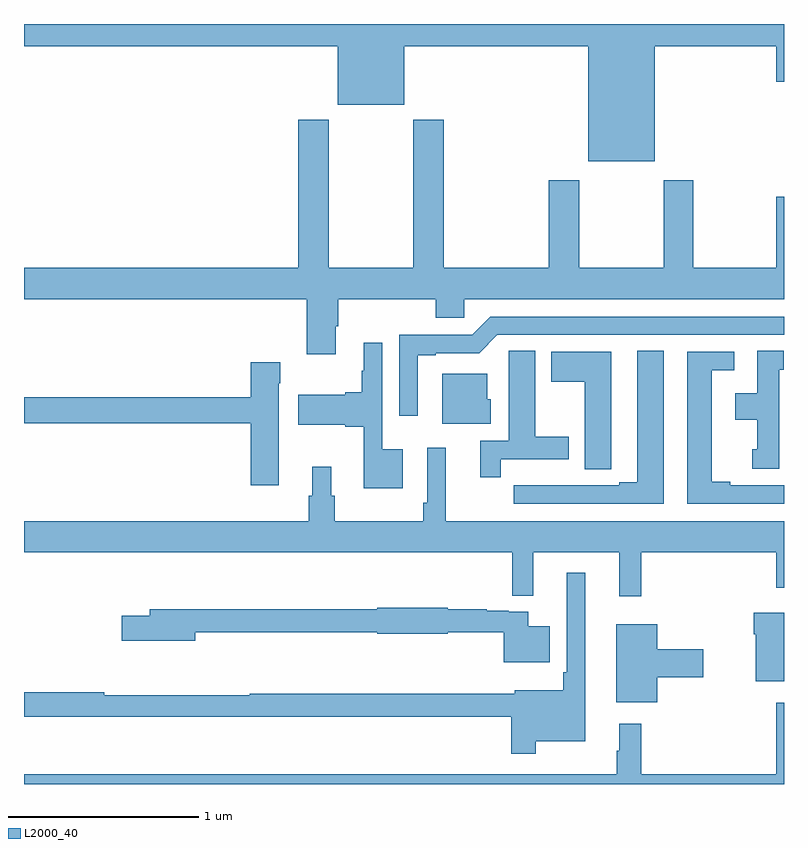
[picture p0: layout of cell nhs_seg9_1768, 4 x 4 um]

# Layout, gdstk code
import gdstk
lib = gdstk.Library(unit=1e-6, precision=1e-09)
def P(c, l, *ps):  # polygons
    for p in ps: c.add(gdstk.Polygon(p, *l))
L2000_40 = (2000, 40)

nhs_seg9_1768 = lib.new_cell('nhs_seg9_1768')
P(nhs_seg9_1768, L2000_40, [(209,1232.384),(210.65,1232.384),(210.65,1232.075),(211,1232.075),(211,1232.384),(211.97,1232.384),(211.97,1231.778),(212.32,1231.778),(212.32,1232.384),(212.96,1232.384),(212.96,1232.196),(213,1232.196),(213,1232.5),(209,1232.5)],
  [(210.64,1230.91),(210.653,1230.91),(210.653,1231.052),(211.166,1231.052),(211.166,1230.954),(211.317,1230.954),(211.317,1231.052),(213,1231.052),(213,1231.591),(212.96,1231.591),(212.96,1231.216),(212.523,1231.216),(212.523,1231.678),(212.368,1231.678),(212.368,1231.216),(211.923,1231.216),(211.923,1231.678),(211.763,1231.678),(211.763,1231.216),(211.208,1231.216),(211.208,1231.996),(211.048,1231.996),(211.048,1231.216),(210.603,1231.216),(210.603,1231.996),(210.443,1231.996),(210.443,1231.216),(209,1231.216),(209,1231.052),(210.488,1231.052),(210.488,1230.762),(210.64,1230.762)],
  [(211.072,1230.756),(211.168,1230.756),(211.168,1230.768),(211.395,1230.768),(211.491,1230.864),(213,1230.864),(213,1230.96),(211.455,1230.96),(211.359,1230.864),(210.975,1230.864),(210.975,1230.438),(211.072,1230.438)],
  [(210.994,1230.262),(210.885,1230.262),(210.885,1230.823),(210.788,1230.823),(210.788,1230.674),(210.777,1230.674),(210.777,1230.563),(210.692,1230.563),(210.692,1230.55),(210.444,1230.55),(210.444,1230.392),(210.692,1230.392),(210.692,1230.38),(210.788,1230.38),(210.788,1230.056),(210.994,1230.056)],
  [(212.974,1230.681),(212.998,1230.681),(212.998,1230.779),(212.858,1230.779),(212.858,1230.556),(212.744,1230.556),(212.744,1230.416),(212.858,1230.416),(212.858,1230.261),(212.834,1230.261),(212.834,1230.159),(212.974,1230.159)],
  [(212.368,1230.779),(212.228,1230.779),(212.228,1230.087),(212.132,1230.087),(212.132,1230.072),(211.856,1230.072),(211.856,1230.073),(211.69,1230.073),(211.69,1230.072),(211.578,1230.072),(211.578,1229.976),(212.368,1229.976)],
  [(211.508,1230.21),(211.867,1230.21),(211.867,1230.327),(211.69,1230.327),(211.69,1230.779),(211.551,1230.779),(211.551,1230.668),(211.55,1230.668),(211.55,1230.306),(211.4,1230.306),(211.4,1230.114),(211.508,1230.114)],
  [(212.091,1230.265),(212.092,1230.265),(212.092,1230.775),(211.775,1230.775),(211.775,1230.616),(211.952,1230.616),(211.952,1230.157),(212.091,1230.157)],
  [(213,1230.072),(212.716,1230.072),(212.716,1230.092),(212.62,1230.092),(212.62,1230.678),(212.737,1230.678),(212.737,1230.774),(212.492,1230.774),(212.492,1229.976),(213,1229.976)],
  [(210.34,1230.608),(210.348,1230.608),(210.348,1230.721),(210.194,1230.721),(210.194,1230.536),(209,1230.536),(209,1230.4),(210.194,1230.4),(210.194,1230.072),(210.34,1230.072)],
  [(211.456,1230.525),(211.438,1230.525),(211.438,1230.658),(211.202,1230.658),(211.202,1230.395),(211.456,1230.395)],
  [(212.249,1229.72),(212.96,1229.72),(212.96,1229.532),(213,1229.532),(213,1229.884),(211.22,1229.884),(211.22,1230.271),(211.122,1230.271),(211.122,1229.98),(211.102,1229.98),(211.102,1229.884),(210.635,1229.884),(210.635,1230.018),(210.616,1230.018),(210.616,1230.169),(210.518,1230.169),(210.518,1230.018),(210.499,1230.018),(210.499,1229.884),(209,1229.884),(209,1229.72),(211.57,1229.72),(211.57,1229.491),(211.679,1229.491),(211.679,1229.72),(212.132,1229.72),(212.132,1229.487),(212.249,1229.487)],
  [(211.693,1228.724),(211.954,1228.724),(211.954,1229.611),(211.857,1229.611),(211.857,1229.089),(211.837,1229.089),(211.837,1228.993),(211.583,1228.993),(211.583,1228.975),(210.187,1228.975),(210.187,1228.967),(209.422,1228.967),(209.422,1228.982),(209,1228.982),(209,1228.854),(211.564,1228.854),(211.564,1228.659),(211.693,1228.659)],
  [(211.768,1229.329),(211.654,1229.329),(211.654,1229.406),(211.55,1229.406),(211.55,1229.412),(211.436,1229.412),(211.436,1229.419),(211.23,1229.419),(211.23,1229.427),(210.858,1229.427),(210.858,1229.419),(209.663,1229.419),(209.663,1229.385),(209.514,1229.385),(209.514,1229.255),(209.902,1229.255),(209.902,1229.298),(210.858,1229.298),(210.858,1229.29),(211.23,1229.29),(211.23,1229.298),(211.525,1229.298),(211.525,1229.141),(211.768,1229.141)],
  [(213,1229.401),(212.84,1229.401),(212.84,1229.288),(212.852,1229.288),(212.852,1229.04),(213,1229.04)],
  [(212.332,1229.063),(212.575,1229.063),(212.575,1229.21),(212.332,1229.21),(212.332,1229.341),(212.117,1229.341),(212.117,1228.931),(212.332,1228.931)],
  [(213,1228.927),(212.96,1228.927),(212.96,1228.552),(212.249,1228.552),(212.249,1228.816),(212.132,1228.816),(212.132,1228.676),(212.121,1228.676),(212.121,1228.552),(209,1228.552),(209,1228.5),(213,1228.5)])

lib.write_gds('nhs_seg9_1768.gds')
